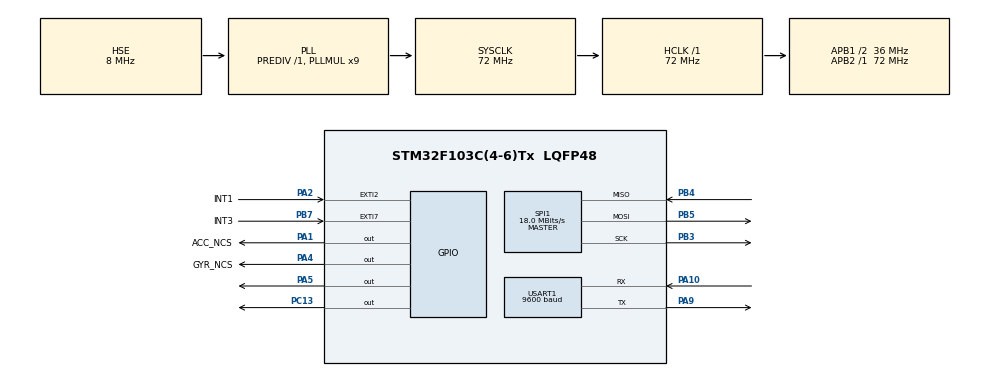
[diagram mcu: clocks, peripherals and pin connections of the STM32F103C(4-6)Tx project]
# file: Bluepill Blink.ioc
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Dma.Request0=SPI1_RX
Dma.Request1=SPI1_TX
Dma.SPI1_RX.0.Direction=DMA_PERIPH_TO_MEMORY
Dma.SPI1_RX.0.Instance=DMA1_Channel2
Dma.SPI1_RX.0.MemDataAlignment=DMA_MDATAALIGN_BYTE
Dma.SPI1_RX.0.MemInc=DMA_MINC_ENABLE
Dma.SPI1_RX.0.Mode=DMA_NORMAL
Dma.SPI1_RX.0.PeriphDataAlignment=DMA_PDATAALIGN_BYTE
Dma.SPI1_RX.0.PeriphInc=DMA_PINC_DISABLE
Dma.SPI1_RX.0.Priority=DMA_PRIORITY_HIGH
Dma.SPI1_TX.1.Direction=DMA_MEMORY_TO_PERIPH
Dma.SPI1_TX.1.Instance=DMA1_Channel3
Dma.SPI1_TX.1.MemDataAlignment=DMA_MDATAALIGN_BYTE
Dma.SPI1_TX.1.MemInc=DMA_MINC_ENABLE
Dma.SPI1_TX.1.Mode=DMA_NORMAL
Dma.SPI1_TX.1.PeriphDataAlignment=DMA_PDATAALIGN_BYTE
Dma.SPI1_TX.1.PeriphInc=DMA_PINC_DISABLE
Dma.SPI1_TX.1.Priority=DMA_PRIORITY_HIGH
Mcu.Family=STM32F1
Mcu.Name=STM32F103C(4-6)Tx
Mcu.Package=LQFP48
NVIC.DMA1_Channel2_IRQn=true\:0\:0\:false\:false\:true\:false\:true\:true
NVIC.DMA1_Channel3_IRQn=true\:0\:0\:false\:false\:true\:false\:true\:true
NVIC.EXTI2_IRQn=true\:0\:0\:false\:false\:true\:true\:true\:true
NVIC.EXTI9_5_IRQn=true\:0\:0\:false\:false\:true\:true\:true\:true
NVIC.PriorityGroup=NVIC_PRIORITYGROUP_4
PA1.GPIO_Label=ACC_NCS
PA1.Signal=GPIO_Output
PA10.Mode=Asynchronous
PA10.Signal=USART1_RX
PA13.Mode=Serial_Wire
PA13.Signal=SYS_JTMS-SWDIO
PA14.Mode=Serial_Wire
PA14.Signal=SYS_JTCK-SWCLK
PA2.GPIO_Label=INT1
PA2.Signal=GPXTI2
PA4.GPIO_Label=GYR_NCS
PA4.Signal=GPIO_Output
PA5.Signal=GPIO_Output
PA9.Mode=Asynchronous
PA9.Signal=USART1_TX
PB3.Mode=Full_Duplex_Master
PB3.Signal=SPI1_SCK
PB4.Mode=Full_Duplex_Master
PB4.Signal=SPI1_MISO
PB5.Mode=Full_Duplex_Master
PB5.Signal=SPI1_MOSI
PB7.GPIO_Label=INT3
PB7.Signal=GPXTI7
PC13-TAMPER-RTC.Signal=GPIO_Output
PC14-OSC32_IN.Mode=LSE-External-Oscillator
PC14-OSC32_IN.Signal=RCC_OSC32_IN
PC15-OSC32_OUT.Mode=LSE-External-Oscillator
PC15-OSC32_OUT.Signal=RCC_OSC32_OUT
PD0-OSC_IN.Mode=HSE-External-Oscillator
PD0-OSC_IN.Signal=RCC_OSC_IN
PD1-OSC_OUT.Mode=HSE-External-Oscillator
PD1-OSC_OUT.Signal=RCC_OSC_OUT
ProjectManager.HeapSize=0x200
ProjectManager.StackSize=0x400
ProjectManager.TargetToolchain=STM32CubeIDE
RCC.AHBFreq_Value=72000000
RCC.APB1CLKDivider=RCC_HCLK_DIV2
RCC.APB1Freq_Value=36000000
RCC.APB1TimFreq_Value=72000000
RCC.APB2Freq_Value=72000000
RCC.APB2TimFreq_Value=72000000
RCC.HCLKFreq_Value=72000000
RCC.PLLMUL=RCC_PLL_MUL9
RCC.PLLSourceVirtual=RCC_PLLSOURCE_HSE
RCC.SYSCLKFreq_VALUE=72000000
RCC.SYSCLKSource=RCC_SYSCLKSOURCE_PLLCLK
RCC.USBFreq_Value=72000000
SPI1.BaudRatePrescaler=SPI_BAUDRATEPRESCALER_4
SPI1.CalculateBaudRate=18.0 MBits/s
SPI1.DataSize=SPI_DATASIZE_8BIT
SPI1.Direction=SPI_DIRECTION_2LINES
SPI1.Mode=SPI_MODE_MASTER
SPI1.VirtualType=VM_MASTER
USART1.BaudRate=9600
USART1.VirtualMode=VM_ASYNC
board=custom

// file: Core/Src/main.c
/* USER CODE BEGIN Header */
/**
  ******************************************************************************
  * @file           : main.c
  * @brief          : Main program body
  ******************************************************************************
  * @attention
  *
  * Copyright (c) 2023 STMicroelectronics.
  * All rights reserved.
  *
  * This software is licensed under terms that can be found in the LICENSE file
  * in the root directory of this software component.
  * If no LICENSE file comes with this software, it is provided AS-IS.
  *
  ******************************************************************************
  */
/* USER CODE END Header */
#include "main.h"
#include "dma.h"
#include "spi.h"
#include "usart.h"
#include "gpio.h"

/* USER CODE BEGIN Includes */
#include "Alt.h"
#include "BMI088.h"
#include <math.h>
/* USER CODE END Includes */

/* USER CODE BEGIN PV */
BMI088 imu;
/* USER CODE END PV */

void SystemClock_Config(void);

/* USER CODE BEGIN 0 */
void HAL_SPI_TxRxCpltCallback(SPI_HandleTypeDef *hspi) {

	if (hspi->Instance == SPI1) {

		if (imu.readingAcc) {

			BMI088_ReadAccelerometerDMA_Complete(&imu);
		}

		if (imu.readingGyr) {

			BMI088_ReadGyroscopeDMA_Complete(&imu);
		}
	}
}

void HAL_GPIO_EXTI_Callback(uint16_t GPIO_Pin) {

	if (GPIO_Pin == INT1_Pin) {

		BMI088_ReadAccelerometerDMA(&imu);

	} else if (GPIO_Pin == INT3_Pin) {

		BMI088_ReadGyroscopeDMA(&imu);

	}

}

/* USER CODE END 0 */

int main(void)
{

  /* MCU Configuration--------------------------------------------------------*/

  /* Reset of all peripherals, Initializes the Flash interface and the Systick. */
  HAL_Init();

  /* Configure the system clock */
  SystemClock_Config();

  /* Initialize all configured peripherals */
  MX_GPIO_Init();
  MX_SPI1_Init();
  MX_DMA_Init();
  MX_USART1_UART_Init();
  /* USER CODE BEGIN 2 */
  BMI088_Init(&imu, &hspi1);

//  uint16_t prom[8] = {0};
//  read_prom(&hspi1, prom);
//  int32_t T_P[2] = {0};
  /* USER CODE END 2 */

  /* Infinite loop */
  /* USER CODE BEGIN WHILE */

  while (1)
  {
	led(1);
	float reading = imu.acc_mps2[2];
	HAL_Delay(100);

//	read_temp_press(&hspi1, prom, T_P);

    /* USER CODE END WHILE */

  }
}

void SystemClock_Config(void)
{
  RCC_OscInitTypeDef RCC_OscInitStruct = {0};
  RCC_ClkInitTypeDef RCC_ClkInitStruct = {0};

  /** Initializes the RCC Oscillators according to the specified parameters
  * in the RCC_OscInitTypeDef structure.
  */
  RCC_OscInitStruct.OscillatorType = RCC_OSCILLATORTYPE_HSE;
  RCC_OscInitStruct.HSEState = RCC_HSE_ON;
  RCC_OscInitStruct.HSEPredivValue = RCC_HSE_PREDIV_DIV1;
  RCC_OscInitStruct.HSIState = RCC_HSI_ON;
  RCC_OscInitStruct.PLL.PLLState = RCC_PLL_ON;
  RCC_OscInitStruct.PLL.PLLSource = RCC_PLLSOURCE_HSE;
  RCC_OscInitStruct.PLL.PLLMUL = RCC_PLL_MUL9;
  if (HAL_RCC_OscConfig(&RCC_OscInitStruct) != HAL_OK)
  {
    Error_Handler();
  }

  /** Initializes the CPU, AHB and APB buses clocks
  */
  RCC_ClkInitStruct.ClockType = RCC_CLOCKTYPE_HCLK|RCC_CLOCKTYPE_SYSCLK
                              |RCC_CLOCKTYPE_PCLK1|RCC_CLOCKTYPE_PCLK2;
  RCC_ClkInitStruct.SYSCLKSource = RCC_SYSCLKSOURCE_PLLCLK;
  RCC_ClkInitStruct.AHBCLKDivider = RCC_SYSCLK_DIV1;
  RCC_ClkInitStruct.APB1CLKDivider = RCC_HCLK_DIV2;
  RCC_ClkInitStruct.APB2CLKDivider = RCC_HCLK_DIV1;

  if (HAL_RCC_ClockConfig(&RCC_ClkInitStruct, FLASH_LATENCY_2) != HAL_OK)
  {
    Error_Handler();
  }
}

void Error_Handler(void)
{
  __disable_irq();
  while (1)
  {
  }
}
